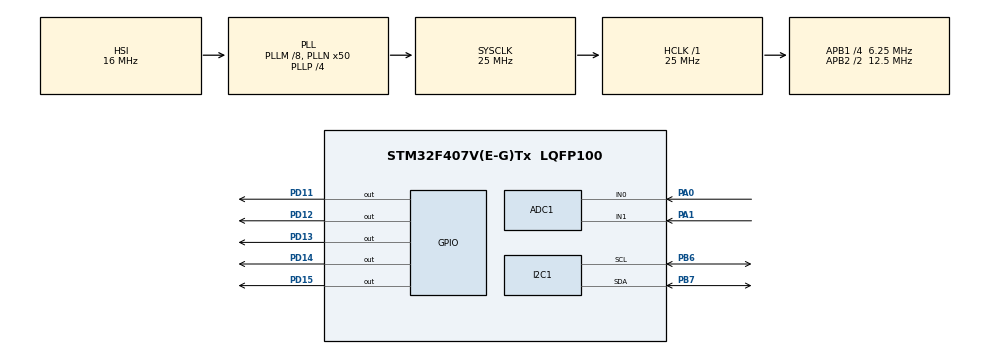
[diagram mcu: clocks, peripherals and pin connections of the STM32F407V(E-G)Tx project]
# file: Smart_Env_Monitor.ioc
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ADC1.Channel-0\#ChannelRegularConversion=ADC_CHANNEL_1
ADC1.NbrOfConversionFlag=1
ADC1.Rank-0\#ChannelRegularConversion=1
ADC1.SamplingTime-0\#ChannelRegularConversion=ADC_SAMPLETIME_3CYCLES
ADC1.master=1
Mcu.Family=STM32F4
Mcu.Name=STM32F407V(E-G)Tx
Mcu.Package=LQFP100
NVIC.PriorityGroup=NVIC_PRIORITYGROUP_0
PA0-WKUP.Signal=ADCx_IN0
PA1.Signal=ADCx_IN1
PB6.Mode=I2C
PB6.Signal=I2C1_SCL
PB7.Mode=I2C
PB7.Signal=I2C1_SDA
PD11.Signal=GPIO_Output
PD12.Signal=GPIO_Output
PD13.Signal=GPIO_Output
PD14.Signal=GPIO_Output
PD15.Signal=GPIO_Output
PH0-OSC_IN.Mode=HSE-External-Oscillator
PH0-OSC_IN.Signal=RCC_OSC_IN
PH1-OSC_OUT.Mode=HSE-External-Oscillator
PH1-OSC_OUT.Signal=RCC_OSC_OUT
ProjectManager.HeapSize=0x200
ProjectManager.StackSize=0x400
ProjectManager.TargetToolchain=STM32CubeIDE
RCC.48MHZClocksFreq_Value=14285714.285714285
RCC.AHBFreq_Value=25000000
RCC.APB1CLKDivider=RCC_HCLK_DIV4
RCC.APB1Freq_Value=6250000
RCC.APB1TimFreq_Value=12500000
RCC.APB2CLKDivider=RCC_HCLK_DIV2
RCC.APB2Freq_Value=12500000
RCC.APB2TimFreq_Value=25000000
RCC.CortexFreq_Value=25000000
RCC.HCLKFreq_Value=25000000
RCC.HSE_VALUE=8000000
RCC.HSI_VALUE=16000000
RCC.LSE_VALUE=32768
RCC.PLLM=8
RCC.PLLN=50
RCC.PLLP=RCC_PLLP_DIV4
RCC.PLLQ=7
RCC.SYSCLKFreq_VALUE=25000000
RCC.SYSCLKSource=RCC_SYSCLKSOURCE_PLLCLK
RCC.VCOOutputFreq_Value=100000000
SH.ADCx_IN0.0=ADC1_IN0,IN0
SH.ADCx_IN1.0=ADC1_IN1,IN1
board=STM32F407G-DISC1

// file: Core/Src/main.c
/* USER CODE BEGIN Header */
/**
  ******************************************************************************
  * @file           : main.c
  * @brief          : Main program body
  ******************************************************************************
  * @attention
  *
  * Copyright (c) 2025 STMicroelectronics.
  * All rights reserved.
  *
  * This software is licensed under terms that can be found in the LICENSE file
  * in the root directory of this software component.
  * If no LICENSE file comes with this software, it is provided AS-IS.
  *
  ******************************************************************************
  */
/* USER CODE END Header */
#include "main.h"
#include "dht11.h"
#include "my_lcd.h"
#include <stdio.h>
#include <string.h>
#include "mq-2.h"

/* USER CODE BEGIN PM */

//I2C_HandleTypeDef hi2c1;

/* USER CODE END PM */

//ADC_HandleTypeDef hadc1;

I2C_HandleTypeDef hi2c1;

void SystemClock_Config(void);
static void MX_GPIO_Init(void);

static void MX_I2C1_Init(void);

int main(void)
{

  /* USER CODE BEGIN 1 */
uint16_t val=0;
uint8_t temp ;
uint8_t hum ;

  /* USER CODE END 1 */

  /* MCU Configuration--------------------------------------------------------*/

  /* Reset of all peripherals, Initializes the Flash interface and the Systick. */
  HAL_Init();

  /* Configure the system clock */
  SystemClock_Config();

  /* Initialize all configured peripherals */
  MX_GPIO_Init();
  MX_ADC1_Init();
  MX_I2C1_Init();
  /* USER CODE BEGIN 2 */
if (!lcd16x2_i2c_init(&hi2c1)){
	while (1);
}
  /* USER CODE END 2 */

  /* Infinite loop */
  /* USER CODE BEGIN WHILE */
char str[32];
char t[32];
char h[32];
  while (1)
  {
    /* USER CODE END WHILE */

    /* USER CODE BEGIN 3 */

// dht11 sensor program
	   DHT11_Read(&temp,&hum);
	   lcd16x2_i2c_clear();
	   lcd16x2_i2c_setCursor(0, 0);
		sprintf(t,"t:%4d",temp);
	  lcd16x2_i2c_printf(t);
		sprintf(h,"h:%4d",hum);
	    lcd16x2_i2c_setCursor(1, 0);
	        lcd16x2_i2c_printf(h);
	    HAL_Delay(1000);

	  // mq-2 smoke detector sensor program
  val=adc_Read();
   lcd16x2_i2c_clear();
  lcd16x2_i2c_setCursor(0,0);
  sprintf(str , "smoke : %4d",val);
   lcd16x2_i2c_printf( str);
   HAL_GPIO_WritePin(GPIOD,GPIO_PIN_12|GPIO_PIN_13|GPIO_PIN_14|GPIO_PIN_15,GPIO_PIN_RESET);
   HAL_Delay(1000);
	 if (val >=200 && val <=600 )
	 {
		 HAL_GPIO_WritePin(GPIOD,GPIO_PIN_12,GPIO_PIN_SET);

	 }
	 else
		 if (val  >=600 && val  <=1500 )
          {
			 HAL_GPIO_WritePin(GPIOD,GPIO_PIN_13,GPIO_PIN_SET);

			 HAL_GPIO_WritePin(GPIOD,GPIO_PIN_11,GPIO_PIN_SET);
			 HAL_Delay(1000);
		 }
		 else
			 if (val  >1500 )
			 {
				 HAL_GPIO_WritePin(GPIOD,GPIO_PIN_14,GPIO_PIN_SET);
			 }
			 else
					 HAL_GPIO_WritePin(GPIOD,GPIO_PIN_15,GPIO_PIN_SET);
					 HAL_Delay(1000);

  }
  /* USER CODE END 3 */
}

void SystemClock_Config(void)
{
  RCC_OscInitTypeDef RCC_OscInitStruct = {0};
  RCC_ClkInitTypeDef RCC_ClkInitStruct = {0};

  /** Configure the main internal regulator output voltage
  */
  __HAL_RCC_PWR_CLK_ENABLE();
  __HAL_PWR_VOLTAGESCALING_CONFIG(PWR_REGULATOR_VOLTAGE_SCALE1);

  /** Initializes the RCC Oscillators according to the specified parameters
  * in the RCC_OscInitTypeDef structure.
  */
  RCC_OscInitStruct.OscillatorType = RCC_OSCILLATORTYPE_HSI;
  RCC_OscInitStruct.HSIState = RCC_HSI_ON;
  RCC_OscInitStruct.HSICalibrationValue = RCC_HSICALIBRATION_DEFAULT;
  RCC_OscInitStruct.PLL.PLLState = RCC_PLL_ON;
  RCC_OscInitStruct.PLL.PLLSource = RCC_PLLSOURCE_HSI;
  RCC_OscInitStruct.PLL.PLLM = 8;
  RCC_OscInitStruct.PLL.PLLN = 50;
  RCC_OscInitStruct.PLL.PLLP = RCC_PLLP_DIV4;
  RCC_OscInitStruct.PLL.PLLQ = 7;
  if (HAL_RCC_OscConfig(&RCC_OscInitStruct) != HAL_OK)
  {
    Error_Handler();
  }

  /** Initializes the CPU, AHB and APB buses clocks
  */
  RCC_ClkInitStruct.ClockType = RCC_CLOCKTYPE_HCLK|RCC_CLOCKTYPE_SYSCLK
                              |RCC_CLOCKTYPE_PCLK1|RCC_CLOCKTYPE_PCLK2;
  RCC_ClkInitStruct.SYSCLKSource = RCC_SYSCLKSOURCE_PLLCLK;
  RCC_ClkInitStruct.AHBCLKDivider = RCC_SYSCLK_DIV1;
  RCC_ClkInitStruct.APB1CLKDivider = RCC_HCLK_DIV4;
  RCC_ClkInitStruct.APB2CLKDivider = RCC_HCLK_DIV2;

  if (HAL_RCC_ClockConfig(&RCC_ClkInitStruct, FLASH_LATENCY_0) != HAL_OK)
  {
    Error_Handler();
  }
}

static void MX_I2C1_Init(void)
{

  hi2c1.Instance = I2C1;
  hi2c1.Init.ClockSpeed = 100000;
  hi2c1.Init.DutyCycle = I2C_DUTYCYCLE_2;
  hi2c1.Init.OwnAddress1 = 0;
  hi2c1.Init.AddressingMode = I2C_ADDRESSINGMODE_7BIT;
  hi2c1.Init.DualAddressMode = I2C_DUALADDRESS_DISABLE;
  hi2c1.Init.OwnAddress2 = 0;
  hi2c1.Init.GeneralCallMode = I2C_GENERALCALL_DISABLE;
  hi2c1.Init.NoStretchMode = I2C_NOSTRETCH_DISABLE;
  if (HAL_I2C_Init(&hi2c1) != HAL_OK)
  {
    Error_Handler();
  }

}

static void MX_GPIO_Init(void)
{
  GPIO_InitTypeDef GPIO_InitStruct = {0};

  /* GPIO Ports Clock Enable */
  __HAL_RCC_GPIOH_CLK_ENABLE();
  __HAL_RCC_GPIOA_CLK_ENABLE();
  __HAL_RCC_GPIOD_CLK_ENABLE();
  __HAL_RCC_GPIOB_CLK_ENABLE();

  /*Configure GPIO pin Output Level */
  HAL_GPIO_WritePin(GPIOD, GPIO_PIN_11|GPIO_PIN_12|GPIO_PIN_13|GPIO_PIN_14
                          |GPIO_PIN_15, GPIO_PIN_RESET);

  /*Configure GPIO pins : PD11 PD12 PD13 PD14
                           PD15 */
  GPIO_InitStruct.Pin = GPIO_PIN_11|GPIO_PIN_12|GPIO_PIN_13|GPIO_PIN_14
                          |GPIO_PIN_15;
  GPIO_InitStruct.Mode = GPIO_MODE_OUTPUT_PP;
  GPIO_InitStruct.Pull = GPIO_NOPULL;
  GPIO_InitStruct.Speed = GPIO_SPEED_FREQ_LOW;
  HAL_GPIO_Init(GPIOD, &GPIO_InitStruct);

}

void Error_Handler(void)
{
  __disable_irq();
  while (1)
  {
  }
}
